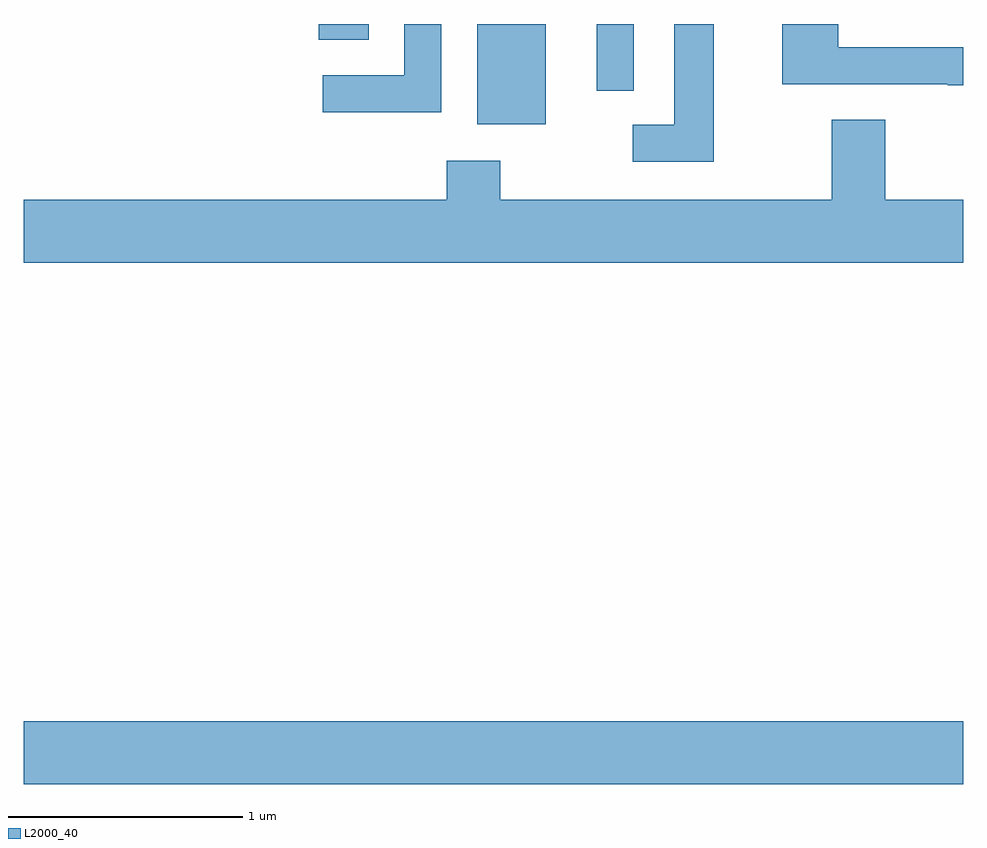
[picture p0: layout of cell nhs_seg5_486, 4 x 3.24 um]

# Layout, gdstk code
import gdstk
lib = gdstk.Library(unit=1e-6, precision=1e-09)
def R(c, l, rs):  # rectangles x0, y0, x1, y1
    for r in rs: c.add(gdstk.rectangle(r[:2], r[2:], *l))
def P(c, l, *ps):  # polygons
    for p in ps: c.add(gdstk.Polygon(p, *l))
L2000_40 = (2000, 40)

nhs_seg5_486 = lib.new_cell('nhs_seg5_486')
R(nhs_seg5_486, L2000_40, [(199.611,1416.836,203.611,1417.104), (201.541,1419.646,201.834,1420.072), (202.051,1419.788,202.209,1420.072), (200.866,1420.006,201.079,1420.072)])
P(nhs_seg5_486, L2000_40, [(203.611,1419.974),(203.079,1419.974),(203.079,1420.072),(202.841,1420.072),(202.841,1419.816),(203.545,1419.816),(203.545,1419.811),(203.611,1419.811)],
  [(202.549,1420.072),(202.381,1420.072),(202.381,1419.644),(202.203,1419.644),(202.203,1419.486),(202.549,1419.486)],
  [(201.389,1420.072),(201.231,1420.072),(201.231,1419.854),(200.883,1419.854),(200.883,1419.696),(201.389,1419.696)],
  [(203.611,1419.324),(203.279,1419.324),(203.279,1419.664),(203.051,1419.664),(203.051,1419.324),(201.639,1419.324),(201.639,1419.489),(201.411,1419.489),(201.411,1419.324),(199.611,1419.324),(199.611,1419.056),(203.611,1419.056)])

lib.write_gds('nhs_seg5_486.gds')
